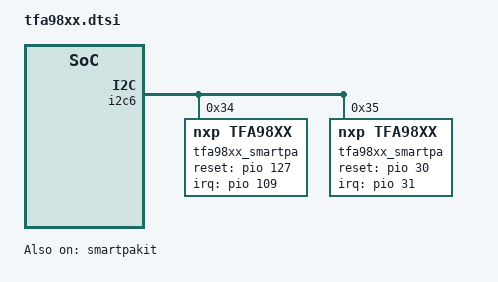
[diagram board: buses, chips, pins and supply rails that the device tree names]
/* tfa98xx Smart PA */
&smartpakit {
    chip_vendor = <1>;
    chip_model = "tfa98xx";
    misc_rw_permission_enable;
    status = "okay";
};

&i2c6 {
    tfa98xx_smartpa@34 {
        compatible = "nxp,tfa98xx";
        reg = <0x34>;
        reset-gpio = <&pio 127 0>;
        irq-gpio = <&pio 109 0>;
        status = "okay";
    };

    tfa98xx_smartpa@35 {
        compatible = "nxp,tfa98xx";
        reg = <0x35>;
        reset-gpio = <&pio 30 0>;
        irq-gpio = <&pio 31 0>;
        status = "okay";
    };
};
/* tfa98xx Smart PA End */
